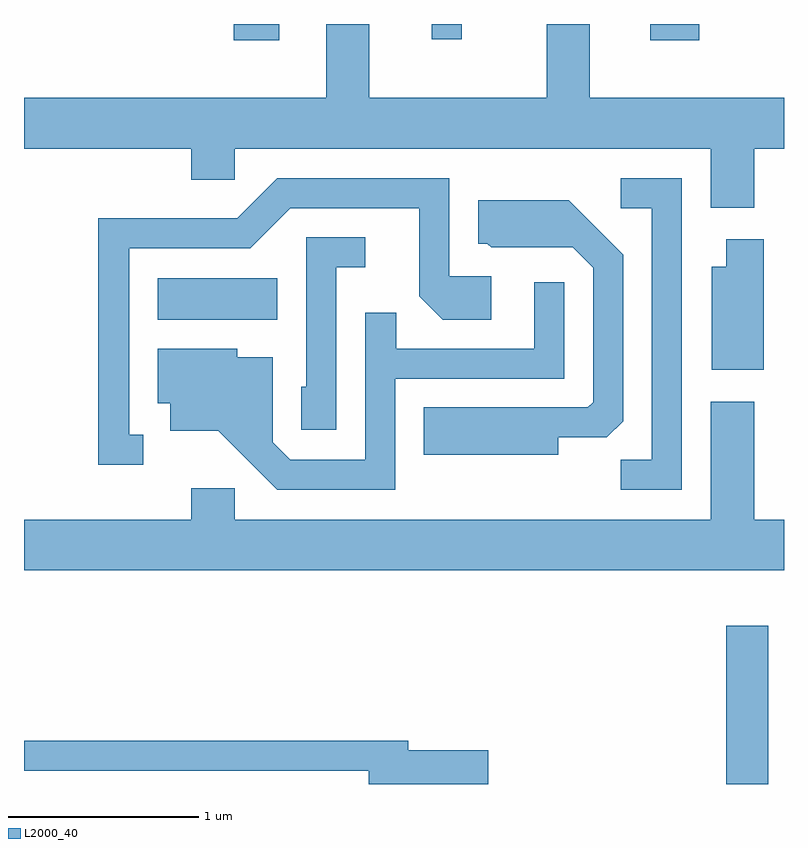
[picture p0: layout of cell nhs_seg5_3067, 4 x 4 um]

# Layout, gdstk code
import gdstk
lib = gdstk.Library(unit=1e-6, precision=1e-09)
def R(c, l, rs):  # rectangles x0, y0, x1, y1
    for r in rs: c.add(gdstk.rectangle(r[:2], r[2:], *l))
def P(c, l, *ps):  # polygons
    for p in ps: c.add(gdstk.Polygon(p, *l))
L2000_40 = (2000, 40)

nhs_seg5_3067 = lib.new_cell('nhs_seg5_3067')
R(nhs_seg5_3067, L2000_40, [(279.306,1500.072,279.529,1500.904), (276.316,1502.516,276.944,1502.734), (276.716,1503.986,276.954,1504.072), (278.906,1503.986,279.164,1504.072), (277.756,1503.993,277.914,1504.072)])
P(nhs_seg5_3067, L2000_40, [(279.454,1503.416),(279.611,1503.416),(279.611,1503.684),(278.589,1503.684),(278.589,1504.072),(278.361,1504.072),(278.361,1503.684),(277.429,1503.684),(277.429,1504.072),(277.201,1504.072),(277.201,1503.684),(275.611,1503.684),(275.611,1503.416),(276.491,1503.416),(276.491,1503.251),(276.719,1503.251),(276.719,1503.416),(279.226,1503.416),(279.226,1503.106),(279.454,1503.106)],
  [(276.238,1501.909),(276.164,1501.909),(276.164,1502.891),(276.802,1502.891),(277.012,1503.101),(277.691,1503.101),(277.691,1502.639),(277.814,1502.516),(278.069,1502.516),(278.069,1502.744),(277.849,1502.744),(277.849,1503.259),(276.944,1503.259),(276.734,1503.049),(276.001,1503.049),(276.001,1501.751),(276.238,1501.751)],
  [(279.074,1503.259),(278.753,1503.259),(278.753,1503.101),(278.916,1503.101),(278.916,1501.779),(278.753,1501.779),(278.753,1501.621),(279.074,1501.621)],
  [(278.424,1501.896),(278.679,1501.896),(278.764,1501.982),(278.764,1502.857),(278.477,1503.144),(278.001,1503.144),(278.001,1502.916),(278.049,1502.916),(278.069,1502.896),(278.499,1502.896),(278.606,1502.789),(278.606,1502.082),(278.579,1502.054),(277.716,1502.054),(277.716,1501.806),(278.424,1501.806)],
  [(277.254,1502.791),(277.408,1502.791),(277.408,1502.949),(277.096,1502.949),(277.096,1502.164),(277.071,1502.164),(277.071,1501.936),(277.254,1501.936)],
  [(279.504,1502.939),(279.306,1502.939),(279.306,1502.794),(279.231,1502.794),(279.231,1502.251),(279.504,1502.251)],
  [(277.564,1502.206),(278.454,1502.206),(278.454,1502.713),(278.296,1502.713),(278.296,1502.364),(277.569,1502.364),(277.569,1502.553),(277.406,1502.553),(277.406,1501.779),(277.012,1501.779),(276.919,1501.872),(276.919,1502.319),(276.734,1502.319),(276.734,1502.364),(276.316,1502.364),(276.316,1502.076),(276.381,1502.076),(276.381,1501.931),(276.634,1501.931),(276.944,1501.621),(277.564,1501.621)],
  [(279.611,1501.464),(279.454,1501.464),(279.454,1502.084),(279.226,1502.084),(279.226,1501.464),(276.719,1501.464),(276.719,1501.629),(276.491,1501.629),(276.491,1501.464),(275.611,1501.464),(275.611,1501.196),(279.611,1501.196)],
  [(278.054,1500.249),(277.634,1500.249),(277.634,1500.299),(275.611,1500.299),(275.611,1500.141),(277.426,1500.141),(277.426,1500.072),(278.054,1500.072)])

lib.write_gds('nhs_seg5_3067.gds')
